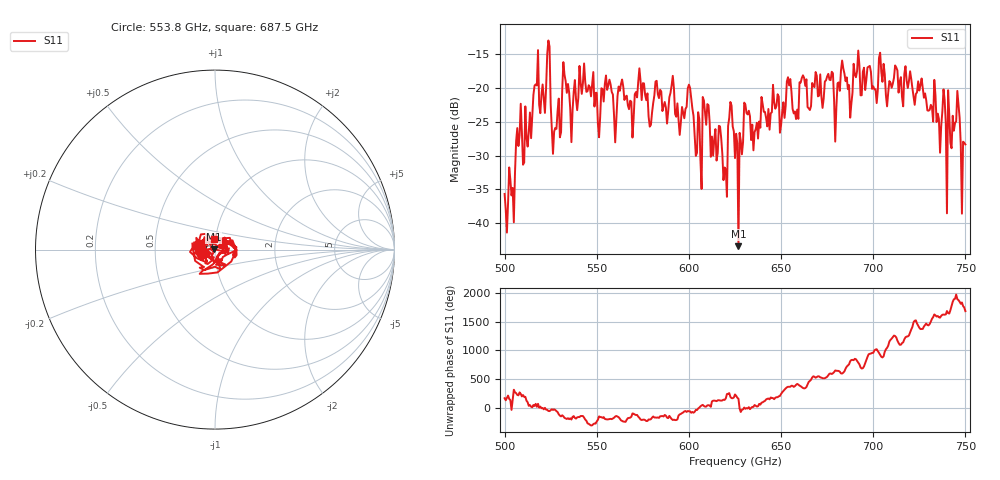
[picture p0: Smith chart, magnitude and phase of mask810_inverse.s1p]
!Created with skrf (http://scikit-rf.org).
# GHz S MA R 50.0
!freq magS11 angS11
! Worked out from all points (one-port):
!   401 points, 500 GHz to 750 GHz, reference 50 ohm
!   lowest |S11| = -43.4 dB at 626.9 GHz (marker M1), VSWR 1.01, Z = 49.4 + j0.249 ohm
!   |S11| at or under -10 dB: start of sweep to end of sweep
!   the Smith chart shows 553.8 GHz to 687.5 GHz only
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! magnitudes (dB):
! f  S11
! 500 GHz  -35.7
! 513.8 GHz  -23.6
! 516.9 GHz  -19.5
! 520.6 GHz  -19.5
! 523.8 GHz  -13.0
! 526.9 GHz  -26.4
! 531.2 GHz  -20.4
! 562.5 GHz  -20.4
! 579.4 GHz  -25.5
! 590.6 GHz  -19.6
! 593.8 GHz  -22.3
! 600.6 GHz  -20.0
! 605.6 GHz  -24.6
! 608.8 GHz  -23.7
! 619.4 GHz  -31.8
! 622.5 GHz  -22.1
! 625 GHz  -30.4
! 626.9 GHz  -43.4
! 631.2 GHz  -23.7
! 635 GHz  -29.2
! 656.2 GHz  -23.1
! 676.9 GHz  -18.8
! 680 GHz  -22.9
! 683.8 GHz  -17.1
! 687.5 GHz  -24.4
! 690.6 GHz  -18.4
! 718.8 GHz  -20.0
! 750 GHz  -28.4
